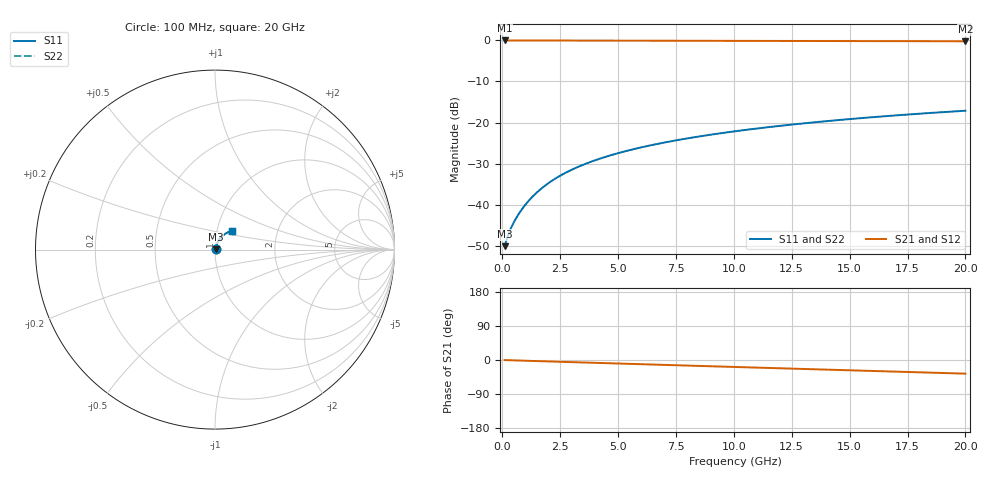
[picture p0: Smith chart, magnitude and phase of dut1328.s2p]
! Touchstone file exported from HFSS 2026.1.0
!  File:  C:/ffzhzh/LocalFiles/Ansys_Project_Files/temp_train_TMRDL_1328_1783165146_43440.aedt
!  Generated:  07:40:13 PM Jul  4, 2026
!  Design:  TMRDL
!  Project:  temp_train_TMRDL_1328_1783165146_43440
! Variables:
!  h_bsmrdl = 2um
!  h_ox = 20um
!  h_rdl = 5um
!  h_sub = 80um
!  h_tmrdl = 4.85um
!  h_tsv = 80um
!  h_via = 3um
!  l_bsmrdl = 300um
!  l_sub = 1031.07um
!  l_tmrdl = 631.07um
!  m_sub = 200um
!  pitch = 25.12um
!  r_tsv = 6um
!  s_tmrdl = 10um
!  w_bsmrdl = 18um
!  w_sub = 500um
!  w_tmrdl = 16.96um
!  x_tsv_center1 = 639.55um
!  x_tsv_center2 = 957.55um
!  x_tsv_center3 = 1605.58um
!  x_tsv_center4 = 1923.58um
!  x_tsv_center5 = 2571.61um
!  x_tsv_center6 = 2889.61um
# GHz S MA R 50.000000
! Terminal data exported
! Port[1] = TM_RDL1_1_T1
! Port[2] = TM_RDL1_1_T2
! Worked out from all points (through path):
!   200 points, 100 MHz to 20 GHz, reference 50 ohm
!   highest |S21| = -0.03 dB at 100 MHz (marker M1); lowest = -0.2 dB at 20 GHz (marker M2)
!   group delay of S21, straight-line fit = 4.98 ps
!   lowest |S11| = -50.0 dB at 100 MHz (marker M3), VSWR 1.01, Z = 50.3 + j0.123 ohm
!   |S11| at or under -10 dB: start of sweep to end of sweep
!   |S22| runs from -50.0 to -17.1 dB; largest |S21 - S12| = 2.1e-15
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0.1  0.003146 22.9  0.9971 -0.2  0.9971 -0.2  0.003146 22.9
! Gamma 0 0 0 0
! Port Impedance 50 0 50 0
0.2  0.003894 35.9  0.9969 -0.4  0.9969 -0.4  0.003894 35.9
0.3  0.004666 43.3  0.9966 -0.6  0.9966 -0.6  0.004666 43.3
0.4  0.005413 48.6  0.9965 -0.8  0.9965 -0.8  0.005413 48.6
0.5  0.006154 52.7  0.9963 -1.0  0.9963 -1.0  0.006155 52.7
0.7  0.007674 58.8  0.9962 -1.4  0.9962 -1.4  0.007674 58.8
0.9  0.009255 63.0  0.996 -1.7  0.996 -1.7  0.009256 63.0
1.1  0.01088 65.9  0.9959 -2.1  0.9959 -2.1  0.01088 65.9
1.3  0.01254 68.0  0.9957 -2.5  0.9957 -2.5  0.01254 68.0
1.7  0.0159 70.4  0.9954 -3.2  0.9954 -3.2  0.0159 70.4
2.2  0.02011 71.8  0.9949 -4.2  0.9949 -4.2  0.02011 71.8
2.8  0.0251 72.3  0.9943 -5.3  0.9943 -5.3  0.0251 72.3
3.5  0.0308 72.0  0.9934 -6.6  0.9934 -6.6  0.0308 72.0
4.2  0.03634 71.4  0.9926 -7.9  0.9926 -7.9  0.03634 71.4
5  0.04251 70.4  0.9915 -9.3  0.9915 -9.3  0.04251 70.4
5.9  0.04925 69.2  0.9904 -11.0  0.9904 -11.0  0.04925 69.2
6.8  0.05582 68.0  0.9893 -12.6  0.9893 -12.6  0.05582 67.9
8.3  0.06646 65.8  0.9875 -15.3  0.9875 -15.3  0.06646 65.8
10.1  0.0788 63.2  0.9854 -18.5  0.9854 -18.5  0.07879 63.1
13.4  0.1004 58.2  0.9817 -24.4  0.9817 -24.4  0.1004 58.1
16.7  0.1207 53.0  0.978 -30.2  0.978 -30.2  0.1206 52.9
20  0.1394 47.8  0.9743 -36.0  0.9743 -36.0  0.1394 47.6
